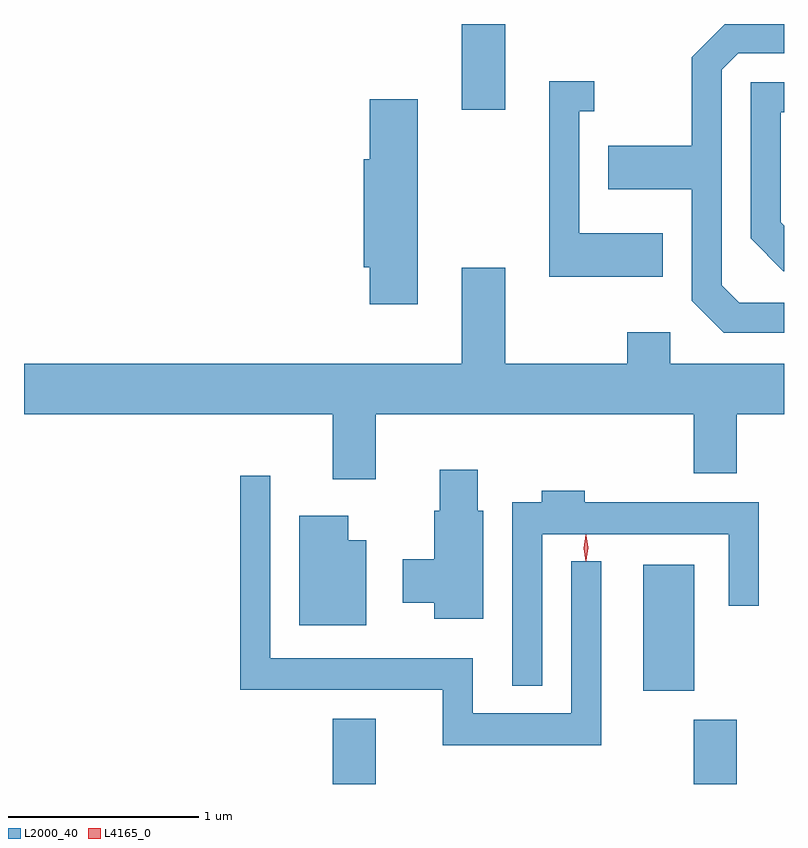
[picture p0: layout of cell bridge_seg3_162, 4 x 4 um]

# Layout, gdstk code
import gdstk
lib = gdstk.Library(unit=1e-6, precision=1e-09)
def R(c, l, rs):  # rectangles x0, y0, x1, y1
    for r in rs: c.add(gdstk.rectangle(r[:2], r[2:], *l))
def P(c, l, *ps):  # polygons
    for p in ps: c.add(gdstk.Polygon(p, *l))
L2000_40 = (2000, 40)
L4165_0 = (4165, 0)

bridge_seg3_162 = lib.new_cell('bridge_seg3_162')
R(bridge_seg3_162, L2000_40, [(907.001,1195.111,907.229,1195.454), (908.901,1195.111,909.129,1195.449), (908.636,1195.601,908.904,1196.264), (907.681,1198.661,907.909,1199.111)])
P(bridge_seg3_162, L2000_40, [(909.377,1197.644),(909.142,1197.644),(909.049,1197.737),(909.049,1198.869),(909.137,1198.956),(909.377,1198.956),(909.377,1199.111),(909.066,1199.111),(908.891,1198.937),(908.891,1198.469),(908.451,1198.469),(908.451,1198.241),(908.891,1198.241),(908.891,1197.654),(909.059,1197.486),(909.377,1197.486)],
  [(908.739,1198.009),(908.299,1198.009),(908.299,1198.651),(908.378,1198.651),(908.378,1198.809),(908.141,1198.809),(908.141,1197.781),(908.739,1197.781)],
  [(909.377,1198.049),(909.359,1198.067),(909.359,1198.646),(909.377,1198.646),(909.377,1198.804),(909.201,1198.804),(909.201,1197.984),(909.374,1197.811),(909.377,1197.811)],
  [(907.449,1198.714),(907.196,1198.714),(907.196,1198.399),(907.166,1198.399),(907.166,1197.831),(907.196,1197.831),(907.196,1197.636),(907.449,1197.636)],
  [(907.229,1197.056),(908.901,1197.056),(908.901,1196.746),(909.129,1196.746),(909.129,1197.056),(909.377,1197.056),(909.377,1197.324),(908.779,1197.324),(908.779,1197.489),(908.551,1197.489),(908.551,1197.324),(907.909,1197.324),(907.909,1197.829),(907.681,1197.829),(907.681,1197.324),(905.377,1197.324),(905.377,1197.056),(907.001,1197.056),(907.001,1196.716),(907.229,1196.716)],
  [(907.794,1196.549),(907.764,1196.549),(907.764,1196.764),(907.566,1196.764),(907.566,1196.549),(907.536,1196.549),(907.536,1196.294),(907.371,1196.294),(907.371,1196.066),(907.536,1196.066),(907.536,1195.981),(907.794,1195.981)],
  [(908.414,1196.283),(908.256,1196.283),(908.256,1195.484),(907.739,1195.484),(907.739,1195.774),(906.674,1195.774),(906.674,1196.733),(906.516,1196.733),(906.516,1195.606),(907.581,1195.606),(907.581,1195.316),(908.414,1195.316)],
  [(908.104,1196.426),(909.086,1196.426),(909.086,1196.048),(909.244,1196.048),(909.244,1196.594),(908.329,1196.594),(908.329,1196.654),(908.101,1196.654),(908.101,1196.594),(907.946,1196.594),(907.946,1195.628),(908.104,1195.628)],
  [(907.179,1196.394),(907.084,1196.394),(907.084,1196.524),(906.826,1196.524),(906.826,1195.946),(907.179,1195.946)])
P(bridge_seg3_162, L4165_0, [(908.334,1196.284),(908.334,1196.284),(908.324,1196.353),(908.334,1196.422),(908.334,1196.423),(908.335,1196.422),(908.344,1196.353),(908.335,1196.284)],
  [(908.336,1196.287),(908.335,1196.288),(908.326,1196.354),(908.335,1196.42),(908.336,1196.421),(908.336,1196.42),(908.346,1196.354),(908.336,1196.288)])

lib.write_gds('bridge_seg3_162.gds')
